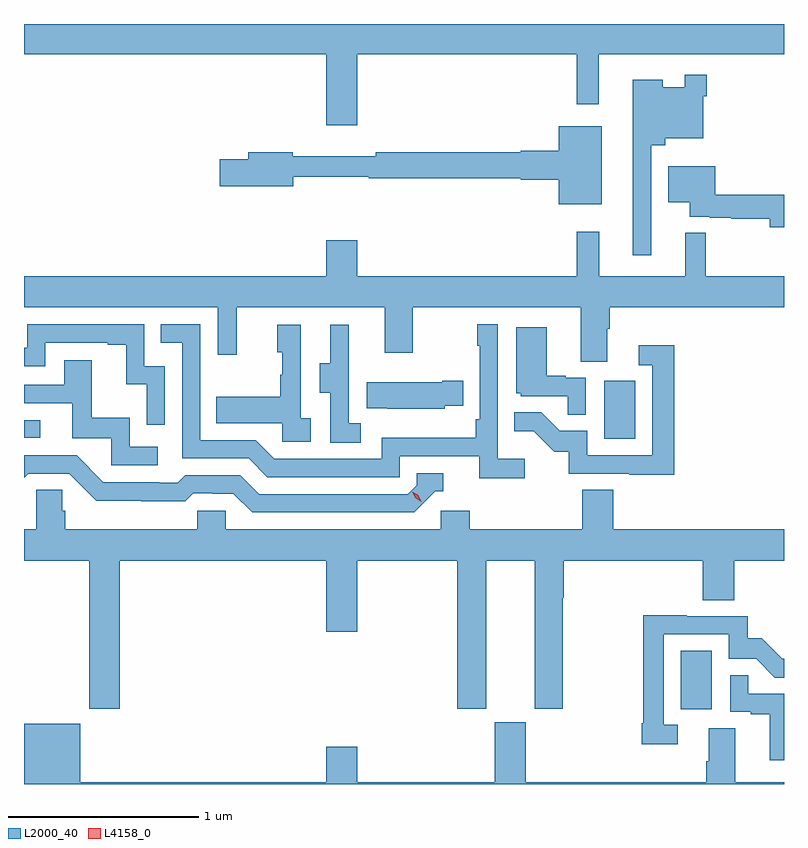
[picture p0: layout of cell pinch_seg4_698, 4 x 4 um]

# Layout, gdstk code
import gdstk
lib = gdstk.Library(unit=1e-6, precision=1e-09)
def R(c, l, rs):  # rectangles x0, y0, x1, y1
    for r in rs: c.add(gdstk.rectangle(r[:2], r[2:], *l))
def P(c, l, *ps):  # polygons
    for p in ps: c.add(gdstk.Polygon(p, *l))
L2000_40 = (2000, 40)
L4158_0 = (4158, 0)

pinch_seg4_698 = lib.new_cell('pinch_seg4_698')
R(pinch_seg4_698, L2000_40, [(1089.95,761.406,1090.114,761.713), (1089.548,762.828,1089.712,763.135), (1086.494,762.834,1086.58,762.927)])
P(pinch_seg4_698, L2000_40, [(1088.248,764.852),(1089.403,764.852),(1089.403,764.589),(1089.52,764.589),(1089.52,764.852),(1090.494,764.852),(1090.494,765.012),(1086.494,765.012),(1086.494,764.852),(1088.084,764.852),(1088.084,764.478),(1088.248,764.478)],
  [(1089.795,764.375),(1089.869,764.375),(1089.869,764.411),(1090.068,764.411),(1090.068,764.633),(1090.088,764.633),(1090.088,764.746),(1089.972,764.746),(1089.972,764.68),(1089.856,764.68),(1089.856,764.719),(1089.698,764.719),(1089.698,763.794),(1089.795,763.794)],
  [(1089.535,764.473),(1089.308,764.473),(1089.308,764.344),(1089.108,764.344),(1089.108,764.336),(1088.344,764.336),(1088.344,764.317),(1087.908,764.317),(1087.908,764.336),(1087.673,764.336),(1087.673,764.3),(1087.524,764.3),(1087.524,764.158),(1087.912,764.158),(1087.912,764.208),(1088.308,764.208),(1088.308,764.2),(1089.108,764.2),(1089.108,764.192),(1089.308,764.192),(1089.308,764.063),(1089.535,764.063)],
  [(1090.494,764.114),(1090.133,764.114),(1090.133,764.263),(1089.884,764.263),(1089.884,764.075),(1089.998,764.075),(1089.998,763.998),(1090.102,763.998),(1090.102,763.992),(1090.216,763.992),(1090.216,763.986),(1090.418,763.986),(1090.418,763.943),(1090.494,763.943)],
  [(1089.565,763.408),(1089.578,763.408),(1089.578,763.52),(1090.494,763.52),(1090.494,763.684),(1090.082,763.684),(1090.082,763.913),(1089.974,763.913),(1089.974,763.684),(1089.521,763.684),(1089.521,763.918),(1089.403,763.918),(1089.403,763.684),(1088.248,763.684),(1088.248,763.873),(1088.084,763.873),(1088.084,763.684),(1086.494,763.684),(1086.494,763.52),(1087.515,763.52),(1087.515,763.272),(1087.613,763.272),(1087.613,763.52),(1088.393,763.52),(1088.393,763.281),(1088.541,763.281),(1088.541,763.52),(1089.425,763.52),(1089.425,763.234),(1089.565,763.234)],
  [(1089.13,762.724),(1088.988,762.724),(1088.988,763.432),(1088.88,763.432),(1088.88,763.319),(1088.892,763.319),(1088.892,762.931),(1088.872,762.931),(1088.872,762.835),(1088.376,762.835),(1088.376,762.723),(1087.812,762.723),(1087.713,762.822),(1087.422,762.822),(1087.422,763.431),(1087.213,763.431),(1087.213,763.335),(1087.326,763.335),(1087.326,762.726),(1087.676,762.726),(1087.775,762.627),(1088.472,762.627),(1088.472,762.738),(1088.891,762.738),(1088.891,762.622),(1089.13,762.622)],
  [(1087.236,763.212),(1087.128,763.212),(1087.128,763.431),(1086.51,763.431),(1086.51,763.308),(1086.494,763.308),(1086.494,763.212),(1086.606,763.212),(1086.606,763.335),(1086.935,763.335),(1086.935,763.323),(1087.031,763.323),(1087.031,763.115),(1087.14,763.115),(1087.14,762.903),(1087.236,762.903)],
  [(1088.002,762.938),(1087.95,762.938),(1087.95,763.429),(1087.826,763.429),(1087.826,763.284),(1087.852,763.284),(1087.852,763.166),(1087.842,763.166),(1087.842,763.051),(1087.507,763.051),(1087.507,762.911),(1087.854,762.911),(1087.854,762.813),(1088.002,762.813)],
  [(1088.266,762.911),(1088.202,762.911),(1088.202,763.215),(1088.204,763.215),(1088.204,763.429),(1088.105,763.429),(1088.105,763.227),(1088.051,763.227),(1088.051,763.072),(1088.106,763.072),(1088.106,762.808),(1088.266,762.808)],
  [(1089.45,763.149),(1089.344,763.149),(1089.344,763.162),(1089.244,763.162),(1089.244,763.417),(1089.086,763.417),(1089.086,763.068),(1089.108,763.068),(1089.108,763.053),(1089.355,763.053),(1089.355,762.955),(1089.45,762.955)],
  [(1089.917,763.321),(1089.729,763.321),(1089.729,763.215),(1089.801,763.215),(1089.801,762.741),(1089.459,762.741),(1089.459,762.87),(1089.315,762.87),(1089.217,762.968),(1089.073,762.968),(1089.073,762.869),(1089.177,762.869),(1089.284,762.762),(1089.361,762.762),(1089.361,762.645),(1089.679,762.645),(1089.679,762.64),(1089.917,762.64)],
  [(1087.198,762.786),(1087.05,762.786),(1087.05,762.94),(1086.851,762.94),(1086.851,763.243),(1086.707,763.243),(1086.707,763.113),(1086.494,763.113),(1086.494,763.017),(1086.749,763.017),(1086.749,762.831),(1086.954,762.831),(1086.954,762.69),(1087.198,762.69)],
  [(1088.709,763.004),(1088.807,763.004),(1088.807,763.134),(1088.696,763.134),(1088.696,763.126),(1088.299,763.126),(1088.299,762.989),(1088.407,762.989),(1088.407,762.986),(1088.709,762.986)],
  [(1088.658,762.552),(1088.701,762.552),(1088.701,762.648),(1088.562,762.648),(1088.562,762.585),(1088.514,762.537),(1087.731,762.537),(1087.632,762.636),(1087.343,762.636),(1087.304,762.597),(1087.205,762.597),(1087.205,762.6),(1086.912,762.6),(1086.771,762.741),(1086.494,762.741),(1086.494,762.623),(1086.516,762.645),(1086.732,762.645),(1086.874,762.503),(1087.11,762.503),(1087.11,762.501),(1087.343,762.501),(1087.385,762.543),(1087.488,762.543),(1087.488,762.54),(1087.595,762.54),(1087.694,762.441),(1088.547,762.441)],
  [(1086.998,762.188),(1088.084,762.188),(1088.084,761.814),(1088.248,761.814),(1088.248,762.188),(1088.774,762.188),(1088.774,761.409),(1088.926,761.409),(1088.926,762.188),(1089.182,762.188),(1089.182,761.409),(1089.33,761.409),(1089.33,761.992),(1089.335,761.992),(1089.335,762.188),(1090.067,762.188),(1090.067,761.98),(1090.232,761.98),(1090.232,762.188),(1090.494,762.188),(1090.494,762.352),(1089.596,762.352),(1089.596,762.56),(1089.431,762.56),(1089.431,762.352),(1088.84,762.352),(1088.84,762.45),(1088.688,762.45),(1088.688,762.352),(1087.557,762.352),(1087.557,762.45),(1087.407,762.45),(1087.407,762.352),(1086.71,762.352),(1086.71,762.45),(1086.695,762.45),(1086.695,762.56),(1086.558,762.56),(1086.558,762.352),(1086.494,762.352),(1086.494,762.188),(1086.838,762.188),(1086.838,761.409),(1086.998,761.409)],
  [(1089.934,761.325),(1089.861,761.325),(1089.861,761.799),(1090.203,761.799),(1090.203,761.67),(1090.347,761.67),(1090.445,761.572),(1090.494,761.572),(1090.494,761.671),(1090.485,761.671),(1090.378,761.778),(1090.302,761.778),(1090.302,761.895),(1089.983,761.895),(1089.983,761.9),(1089.753,761.9),(1089.753,761.332),(1089.745,761.332),(1089.745,761.22),(1089.934,761.22)],
  [(1090.494,761.487),(1090.307,761.487),(1090.307,761.585),(1090.212,761.585),(1090.212,761.391),(1090.319,761.391),(1090.319,761.379),(1090.418,761.379),(1090.418,761.136),(1090.494,761.136)],
  [(1090.494,761.02),(1090.237,761.02),(1090.237,761.306),(1090.097,761.306),(1090.097,761.132),(1090.085,761.132),(1090.085,761.02),(1089.136,761.02),(1089.136,761.337),(1088.972,761.337),(1088.972,761.02),(1088.248,761.02),(1088.248,761.209),(1088.084,761.209),(1088.084,761.02),(1086.79,761.02),(1086.79,761.329),(1086.494,761.329),(1086.494,761.012),(1090.494,761.012)])
P(pinch_seg4_698, L4158_0, [(1088.584,762.498),(1088.553,762.518),(1088.538,762.551),(1088.538,762.551),(1088.538,762.551),(1088.569,762.531),(1088.584,762.498),(1088.584,762.498)])

lib.write_gds('pinch_seg4_698.gds')
